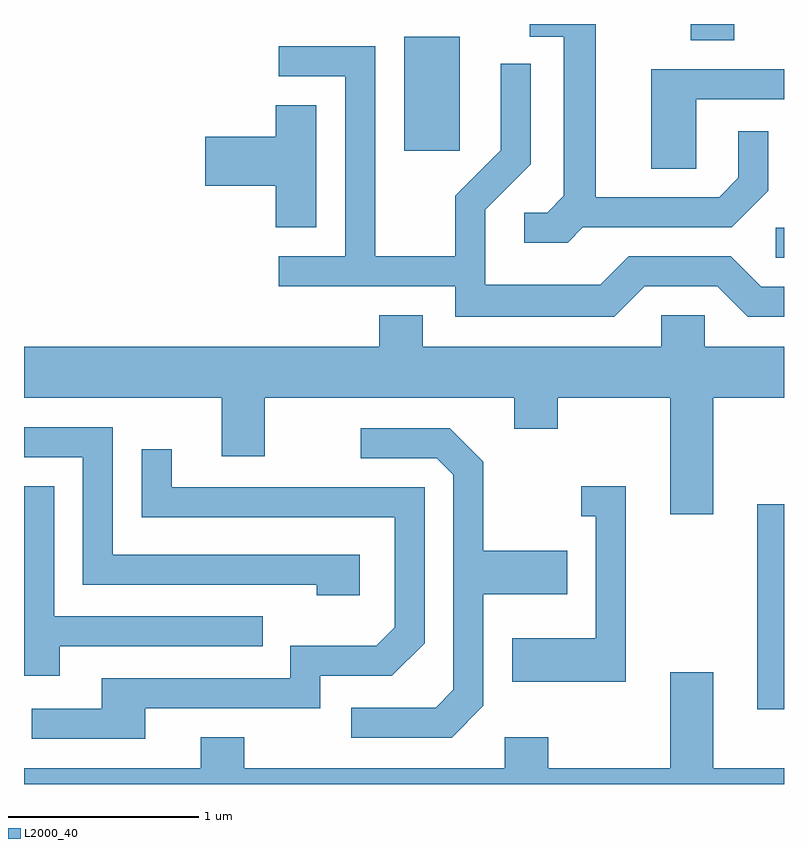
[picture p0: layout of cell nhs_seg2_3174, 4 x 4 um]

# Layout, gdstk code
import gdstk
lib = gdstk.Library(unit=1e-6, precision=1e-09)
def R(c, l, rs):  # rectangles x0, y0, x1, y1
    for r in rs: c.add(gdstk.rectangle(r[:2], r[2:], *l))
def P(c, l, *ps):  # polygons
    for p in ps: c.add(gdstk.Polygon(p, *l))
L2000_40 = (2000, 40)

nhs_seg2_3174 = lib.new_cell('nhs_seg2_3174')
R(nhs_seg2_3174, L2000_40, [(281.471,1082.196,281.611,1083.274), (281.568,1084.571,281.611,1084.729), (279.611,1085.136,279.904,1085.734), (281.121,1085.716,281.349,1085.802)])
P(nhs_seg2_3174, L2000_40, [(280.552,1084.731),(281.337,1084.731),(281.529,1084.924),(281.529,1085.238),(281.371,1085.238),(281.371,1084.992),(281.269,1084.889),(280.619,1084.889),(280.619,1085.802),(280.273,1085.802),(280.273,1085.736),(280.451,1085.736),(280.451,1084.897),(280.364,1084.809),(280.243,1084.809),(280.243,1084.651),(280.472,1084.651)],
  [(280.877,1084.421),(281.259,1084.421),(281.419,1084.261),(281.611,1084.261),(281.611,1084.419),(281.492,1084.419),(281.332,1084.579),(280.794,1084.579),(280.644,1084.429),(280.039,1084.429),(280.039,1084.824),(280.279,1085.064),(280.279,1085.593),(280.121,1085.593),(280.121,1085.137),(279.881,1084.897),(279.881,1084.579),(279.459,1084.579),(279.459,1085.684),(278.953,1085.684),(278.953,1085.526),(279.301,1085.526),(279.301,1084.579),(278.953,1084.579),(278.953,1084.421),(279.881,1084.421),(279.881,1084.261),(280.717,1084.261)],
  [(281.149,1085.406),(281.611,1085.406),(281.611,1085.564),(280.911,1085.564),(280.911,1085.041),(281.149,1085.041)],
  [(279.149,1085.374),(278.936,1085.374),(278.936,1085.209),(278.566,1085.209),(278.566,1084.951),(278.936,1084.951),(278.936,1084.731),(279.149,1084.731)],
  [(281.239,1083.836),(281.611,1083.836),(281.611,1084.104),(281.194,1084.104),(281.194,1084.269),(280.966,1084.269),(280.966,1084.104),(279.709,1084.104),(279.709,1084.269),(279.481,1084.269),(279.481,1084.104),(277.611,1084.104),(277.611,1083.836),(278.651,1083.836),(278.651,1083.526),(278.879,1083.526),(278.879,1083.836),(280.191,1083.836),(280.191,1083.671),(280.419,1083.671),(280.419,1083.836),(281.011,1083.836),(281.011,1083.221),(281.239,1083.221)],
  [(279.379,1083.009),(278.079,1083.009),(278.079,1083.679),(277.611,1083.679),(277.611,1083.521),(277.921,1083.521),(277.921,1082.851),(279.151,1082.851),(279.151,1082.796),(279.379,1082.796)],
  [(280.029,1082.214),(280.029,1082.801),(280.469,1082.801),(280.469,1083.029),(280.029,1083.029),(280.029,1083.497),(279.852,1083.674),(279.383,1083.674),(279.383,1083.516),(279.784,1083.516),(279.871,1083.429),(279.871,1082.297),(279.779,1082.204),(279.333,1082.204),(279.333,1082.046),(279.862,1082.046)],
  [(278.249,1082.201),(279.169,1082.201),(279.169,1082.371),(279.547,1082.371),(279.719,1082.544),(279.719,1083.364),(278.389,1083.364),(278.389,1083.563),(278.231,1083.563),(278.231,1083.206),(279.561,1083.206),(279.561,1082.627),(279.464,1082.529),(279.011,1082.529),(279.011,1082.359),(278.021,1082.359),(278.021,1082.199),(277.653,1082.199),(277.653,1082.041),(278.249,1082.041)],
  [(280.779,1083.369),(280.543,1083.369),(280.543,1083.211),(280.621,1083.211),(280.621,1082.569),(280.181,1082.569),(280.181,1082.341),(280.779,1082.341)],
  [(277.799,1082.526),(278.868,1082.526),(278.868,1082.684),(277.769,1082.684),(277.769,1083.369),(277.611,1083.369),(277.611,1082.371),(277.799,1082.371)],
  [(281.611,1081.884),(281.239,1081.884),(281.239,1082.389),(281.011,1082.389),(281.011,1081.884),(280.369,1081.884),(280.369,1082.049),(280.141,1082.049),(280.141,1081.884),(278.769,1081.884),(278.769,1082.049),(278.541,1082.049),(278.541,1081.884),(277.611,1081.884),(277.611,1081.802),(281.611,1081.802)])

lib.write_gds('nhs_seg2_3174.gds')
